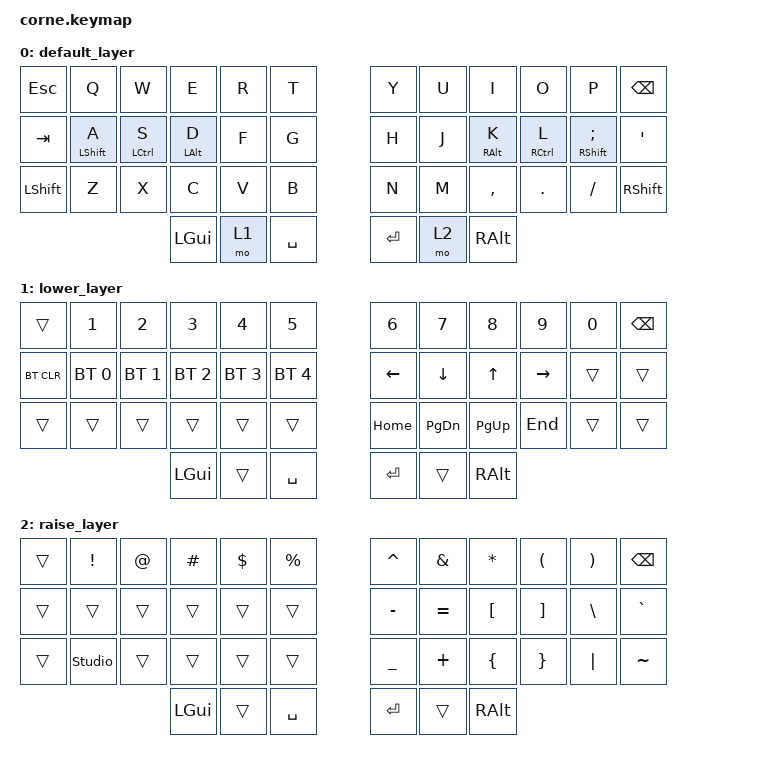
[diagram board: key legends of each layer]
/*
 * Copyright (c) 2020 The ZMK Contributors
 *
 * SPDX-License-Identifier: MIT
 */

#include <behaviors.dtsi>
#include <dt-bindings/zmk/keys.h>
#include <dt-bindings/zmk/bt.h>
#include <layouts/foostan/corne/6column.dtsi>
#include <dt-bindings/gpio/gpio.h>


/ {
        chosen {
                zmk,display = &nice_view;
        };

        keymap {
                compatible = "zmk,keymap";

                default_layer {
// -----------------------------------------------------------------------------------------
// |  ESC |  Q  |  W  |  E  |  R  |  T  |   |  Y  |  U   |  I  |  O  |  P  | BSPC |
// | TAB |  A  |  S  |  D  |  F  |  G  |   |  H  |  J   |  K  |  L  |  ;  |  '   |
// | SHFT |  Z  |  X  |  C  |  V  |  B  |   |  N  |  M   |  ,  |  .  |  /  | SHFT  |
//                    | GUI | LWR | SPC |   | ENT | RSE  | ALT |
                        bindings = <
   &kp ESC   &kp Q &kp W &kp E &kp R &kp T   &kp Y &kp U  &kp I     &kp O   &kp P    &kp BSPC
   &kp TAB &mt LSHFT A &mt LCTL S &mt LALT D &kp F &kp G   &kp H &kp J  &mt RALT K     &mt RCTL L   &mt RSHFT SEMI &kp SQT
   &kp LSHFT &kp Z &kp X &kp C &kp V &kp B   &kp N &kp M  &kp COMMA &kp DOT &kp FSLH &kp RSHFT
                  &kp LGUI &mo 1 &kp SPACE   &kp RET &mo 2 &kp RALT
                        >;
                };
                lower_layer {
// -----------------------------------------------------------------------------------------
// |   |  1  |  2  |  3  |  4  |  5  |   |  6  |  7  |  8  |  9  |  0  | BSPC |
// | clear| BT1 | BT2 | BT3 | BT4 | BT5 |   | LFT | DWN |  UP | RGT |     |      |
// |  |     |     |     |     |     |   | home  | pgd |  pgu | end  |     |      |
//                    | GUI |     | SPC |   | ENT |     | ALT |
                        bindings = <
   &trans    &kp N1       &kp N2       &kp N3       &kp N4       &kp N5        &kp N6   &kp N7   &kp N8 &kp N9    &kp N0 &kp BSPC
   &bt BT_CLR &bt BT_SEL 0 &bt BT_SEL 1 &bt BT_SEL 2 &bt BT_SEL 3 &bt BT_SEL 4   &kp LEFT &kp DOWN &kp UP &kp RIGHT &trans &trans
   &trans  &trans       &trans       &trans       &trans       &trans         &kp HOME   &kp PG_DN   &kp PG_UP &kp END    &trans &trans
                                    &kp LGUI     &trans       &kp SPACE      &kp RET  &trans   &kp RALT
                        >;
                };

                raise_layer {
// -----------------------------------------------------------------------------------------
// |   |  !  |  @  |  #  |  $  |  %  |   |  ^  |  &  |  *  |  (  |  )  | BSPC |
// |  |     |     |     |     |     |   |  -  |  =  |  [  |  ]  |  \  |  `   |
// |  |     |     |     |     |     |   |  _  |  +  |  {  |  }  | "|" |  ~   |
//                    | GUI |     | SPC |   | ENT |     | ALT |
                        bindings = <
   &trans  &kp EXCL         &kp AT &kp HASH &kp DLLR &kp PRCNT   &kp CARET &kp AMPS  &kp ASTRK &kp LPAR &kp RPAR &kp BSPC
   &trans &trans           &trans &trans   &trans   &trans      &kp MINUS &kp EQUAL &kp LBKT  &kp RBKT &kp BSLH &kp GRAVE
   &trans &studio_unlock   &trans &trans   &trans   &trans      &kp UNDER &kp PLUS  &kp LBRC  &kp RBRC &kp PIPE &kp TILDE
                                     &kp LGUI &trans   &kp SPACE   &kp RET   &trans    &kp RALT
                        >;
                };
        };
};

&mt {
    // https://zmk.dev/docs/keymaps/behaviors/hold-tap#mod-tap
    tapping-term-ms = <150>;
};

&pinctrl {
    spi0_default: spi0_default {
        group1 {
        /* P0.20 = (0, 20) and P0.17 = (0, 17) */
            psels = <NRF_PSEL(SPIM_SCK, 0, 20)>,
                    <NRF_PSEL(SPIM_MOSI, 0, 17)>;
        };
    };
    spi0_sleep: spi0_sleep {
        group1 {
            /* main role: configure P0.01 as SPI clock, P0.02 as SPI MOSI, P0.03 as SPI MISO */
            psels = <NRF_PSEL(SPIM_SCK, 0, 20)>,
                    <NRF_PSEL(SPIM_MOSI, 0, 17)>;
            low-power-enable;
        };
	};

};

&spi0 {
        status = "okay";
        pinctrl-0 = < &spi0_default >;
        pinctrl-1 = < &spi0_sleep >;
        pinctrl-names = "default", "sleep";
        /* P0.06 = &gpio0 6 */
        cs-gpios = < &gpio0 6 GPIO_ACTIVE_HIGH >;
         /* nice!view display definition */
        nice_view: ls0xx@0 {
                compatible = "sharp,ls0xx";
                reg = <0>; /* Matches the first CS pin in cs-gpios */
                spi-max-frequency = <1000000>;
                width = <160>;
                height = <68>;
        };
};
